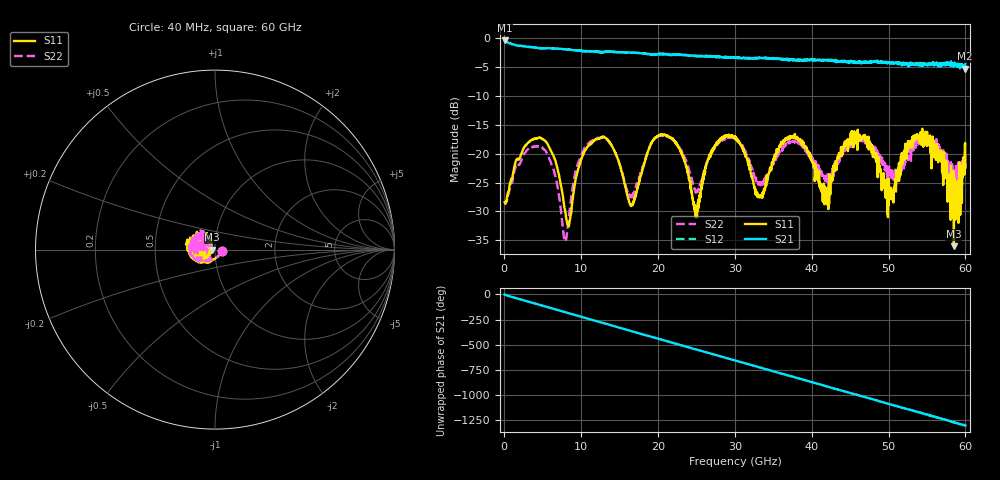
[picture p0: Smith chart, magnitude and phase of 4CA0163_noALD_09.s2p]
! File created by 'SoftPlot +Plus+ Measurement Management Software'
! SoftPlot +Plus+ Measurement Management Software
! Start 40.000000 MHz  Stop 60.000000 GHz  Points 1601
# MHZ S RI R 50
! S-Parameter data, F S11 S21 S12 S22
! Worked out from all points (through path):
!   1601 points, 40 MHz to 60 GHz, reference 50 ohm
!   highest |S21| = -0.38 dB at 40 MHz (marker M1); lowest = -5.3 dB at 59.93 GHz (marker M2)
!   group delay of S21, straight-line fit = 60.1 ps
!   lowest |S11| = -36.0 dB at 58.5 GHz (marker M3), VSWR 1.03, Z = 48.4 - j0.0512 ohm
!   |S11| at or under -10 dB: start of sweep to end of sweep
!   |S22| runs from -35.2 to -16.7 dB; largest |S21 - S12| = 0.051
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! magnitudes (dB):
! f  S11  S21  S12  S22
! 40 MHz  -28.4  -0.4  -0.4  -28.4
! 4.762 GHz  -17.3  -1.7  -1.7  -18.8
! 6.523 GHz  -20.8  -1.8  -1.8  -23.3
! 7.947 GHz  -30.2  -1.9  -1.9  -35.2
! 10.05 GHz  -20.9  -2.2  -2.2  -20.1
! 13.31 GHz  -17.4  -2.3  -2.3  -17.4
! 16.6 GHz  -28.9  -2.5  -2.5  -27.2
! 20.05 GHz  -17.0  -2.8  -2.7  -16.9
! 22.79 GHz  -19.1  -2.9  -2.9  -19.0
! 24.92 GHz  -30.6  -3.1  -3.0  -26.8
! 27.13 GHz  -19.1  -3.1  -3.2  -19.3
! 30.02 GHz  -17.3  -3.3  -3.3  -17.4
! 33.24 GHz  -27.2  -3.4  -3.4  -25.1
! 36.77 GHz  -17.6  -3.7  -3.5  -18.2
! 40.03 GHz  -21.3  -3.7  -3.7  -20.7
! 41.9 GHz  -26.8  -3.8  -3.8  -24.4
! 46.73 GHz  -16.8  -4.3  -4.1  -17.7
! 50.03 GHz  -24.3  -4.2  -4.3  -23.7
! 54.6 GHz  -17.7  -4.6  -4.4  -17.7
! 58.5 GHz  -36.0  -4.5  -4.7  -23.7
! 59.93 GHz  -18.7  -5.3  -4.9  -22.4
! 60 GHz  -22.5  -4.3  -4.4  -22.6
